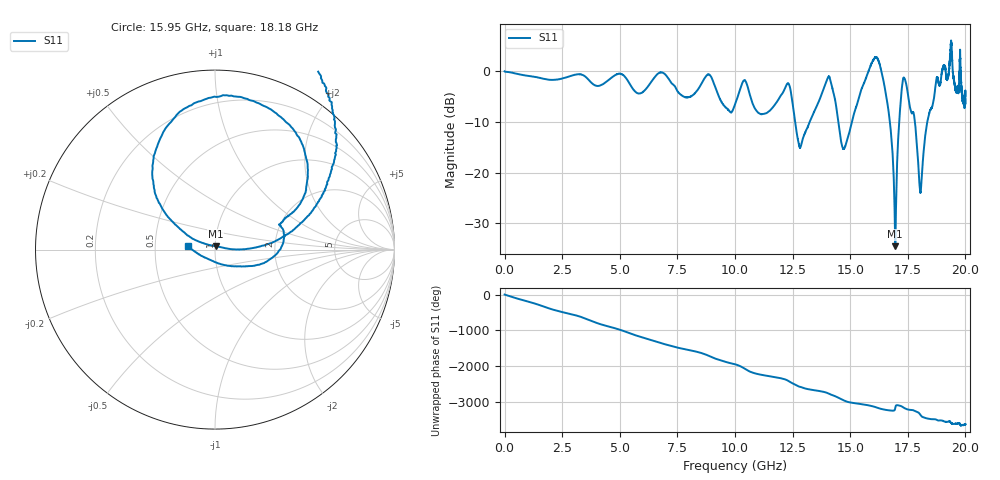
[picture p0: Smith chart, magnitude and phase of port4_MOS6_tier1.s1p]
! Created with skrf 1.8.0 (http://scikit-rf.org).
# GHz S RI R 50.0
!freq ReS11 ImS11
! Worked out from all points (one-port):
!   10001 points, 1 MHz to 20 GHz, reference 50 ohm
!   lowest |S11| = -34.5 dB at 16.96 GHz (marker M1), VSWR 1.04, Z = 50.5 + j1.84 ohm
!   |S11| at or under -10 dB: 12.61 GHz to 13.24 GHz (631.7 MHz wide, 4.89 % of centre); 14.48 GHz to 15.08 GHz (593.9 MHz wide, 4.02 % of centre); 17.81 GHz to 18.35 GHz (539.6 MHz wide, 2.99 % of centre) (the widest 3 of 4)
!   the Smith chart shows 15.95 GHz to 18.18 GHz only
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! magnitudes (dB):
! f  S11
! 1 MHz  0.0
! 2.501 GHz  -1.4
! 5.001 GHz  -0.5
! 5.795 GHz  -4.4
! 6.787 GHz  -0.2
! 7.501 GHz  -4.0
! 8.863 GHz  -0.7
! 10 GHz  -6.6
! 10.41 GHz  -1.8
! 11.08 GHz  -8.4
! 12.28 GHz  -2.4
! 12.5 GHz  -6.4
! 12.85 GHz  -14.9
! 14.07 GHz  -1.1
! 14.67 GHz  -15.0
! 15 GHz  -11.4
! 16.18 GHz  2.6
! 16.66 GHz  -7.6
! 16.96 GHz  -34.5
! 17.25 GHz  -3.1
! 17.5 GHz  -4.4
! 17.79 GHz  -9.3
! 18.05 GHz  -23.9
! 18.38 GHz  -9.4
! 19.04 GHz  0.8
! 19.38 GHz  5.7
! 19.6 GHz  -4.1
! 20 GHz  -4.9
